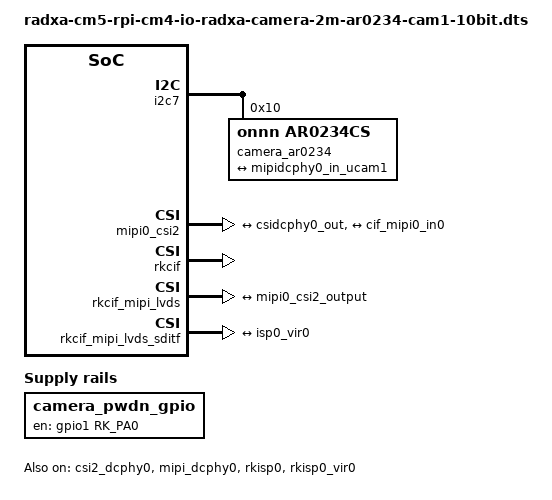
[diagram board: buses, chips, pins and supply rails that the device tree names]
/dts-v1/;
/plugin/;

#include <dt-bindings/gpio/gpio.h>
#include <dt-bindings/pinctrl/rockchip.h>

/ {
	metadata {
		title = "Enable Radxa Camera 2M AR0234 with RAW10 format on CAM1";
		compatible = "radxa,cm5-rpi-cm4-io";
		category = "camera";
		exclusive = "GPIO1_A0", "csi2_dcphy0", "i2c7";
		description = "Enable Radxa Camera 2M AR0234 with RAW10 format on CAM1.";
	};
};

&{/} {
	camera_pwdn_gpio: camera-pwdn-gpio {
		compatible = "regulator-fixed";
		regulator-name = "camera_pwdn_gpio";
		regulator-always-on;
		regulator-boot-on;
		enable-active-high;
		gpio = <&gpio1 RK_PA0 GPIO_ACTIVE_HIGH>;
		pinctrl-names = "default";
		pinctrl-0 = <&cam_pwdn_gpio>;
	};
};

&i2c7 {
	status = "okay";
	pinctrl-0 = <&i2c7m2_xfer>;
	#address-cells = <1>;
	#size-cells = <0>;

	camera_ar0234: camera-ar0234@10 {
		status = "okay";
		compatible = "onnn,ar0234cs";
		reg = <0x10>;
		rockchip,camera-module-index = <1>;
		rockchip,camera-module-facing = "back";
		rockchip,camera-module-name = "default";
		rockchip,camera-module-lens-name = "default";

		port {
			ar0234_out1: endpoint {
				remote-endpoint = <&mipidcphy0_in_ucam1>;
				data-lanes = <1 2 3 4>;
				link-frequencies = /bits/ 64 <450000000>;
			};
		};
	};
};

&csi2_dcphy0 {
	status = "okay";

	ports {
		#address-cells = <1>;
		#size-cells = <0>;

		port@0 {
			reg = <0>;
			#address-cells = <1>;
			#size-cells = <0>;

			mipidcphy0_in_ucam1: endpoint@1 {
				reg = <1>;
				remote-endpoint = <&ar0234_out1>;
				data-lanes = <1 2 3 4>;
			};
		};

		port@1 {
			reg = <1>;
			#address-cells = <1>;
			#size-cells = <0>;

			csidcphy0_out: endpoint@0 {
				reg = <0>;
				remote-endpoint = <&mipi0_csi2_input>;
			};
		};
	};
};

&mipi_dcphy0 {
	status = "okay";
};

&mipi0_csi2 {
	status = "okay";

	ports {
		#address-cells = <1>;
		#size-cells = <0>;

		port@0 {
			reg = <0>;
			#address-cells = <1>;
			#size-cells = <0>;

			mipi0_csi2_input: endpoint@1 {
				reg = <1>;
				remote-endpoint = <&csidcphy0_out>;
			};
		};

		port@1 {
			reg = <1>;
			#address-cells = <1>;
			#size-cells = <0>;

			mipi0_csi2_output: endpoint@0 {
				reg = <0>;
				remote-endpoint = <&cif_mipi0_in0>;
			};
		};
	};
};

&rkcif {
	status = "okay";
};

&rkcif_mipi_lvds {
	status = "okay";

	port {
		cif_mipi0_in0: endpoint {
			remote-endpoint = <&mipi0_csi2_output>;
		};
	};
};

&rkcif_mipi_lvds_sditf {
	status = "okay";

	port {
		mipi_lvds_sditf: endpoint {
			remote-endpoint = <&isp0_vir0>;
		};
	};
};

&rkcif_mmu {
	status = "okay";
};

&isp0_mmu {
	status = "okay";
};

&rkisp0 {
	status = "okay";
};

&rkisp0_vir0 {
	status = "okay";

	port {
		#address-cells = <1>;
		#size-cells = <0>;

		isp0_vir0: endpoint@0 {
			reg = <0>;
			remote-endpoint = <&mipi_lvds_sditf>;
		};
	};
};

&pinctrl {
	camera {
		cam_pwdn_gpio: cam-pwdn-gpio {
			rockchip,pins = <1 RK_PA0 RK_FUNC_GPIO &pcfg_pull_up>;
		};
	};
};
